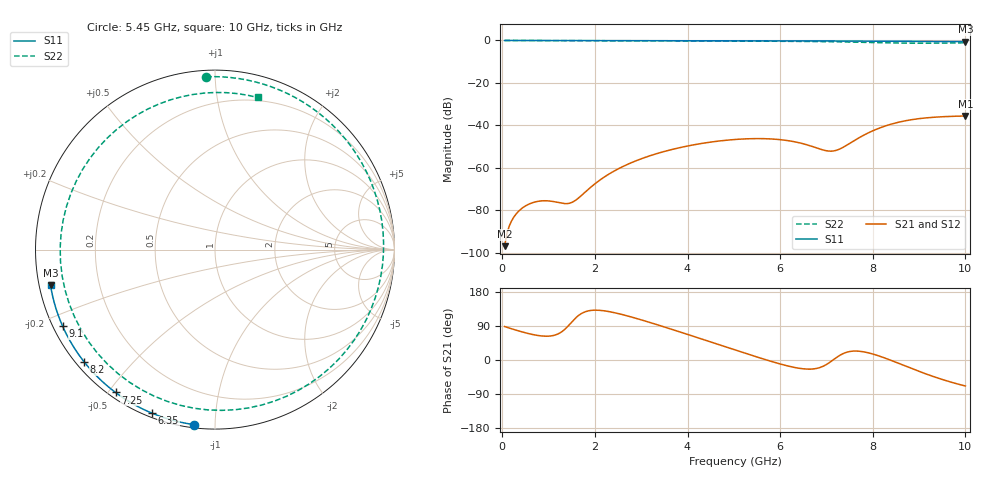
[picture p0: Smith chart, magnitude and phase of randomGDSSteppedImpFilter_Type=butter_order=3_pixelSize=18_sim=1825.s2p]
! freq	dB(S11)	phase(S11)	dB(S12)	phase(S12)
!  dB(S21)	phase(S21)	dB(S22)	phase(S22)
!S-par simulation data
#  GHz  S  DB  R 50
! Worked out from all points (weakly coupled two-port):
!   200 points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, 50 MHz to 10 GHz, reference 50 ohm
!   highest |S21| = -35.56 dB at 10 GHz (marker M1); lowest = -96.8 dB at 50 MHz (marker M2)
!   lowest |S11| = -0.6 dB at 10 GHz (marker M3), VSWR 31.07, Z = 1.63 - j5.38 ohm
!   |S11| at or under -10 dB: nowhere
!   |S22| runs from -1.3 to 0.0 dB; largest |S21 - S12| = 0
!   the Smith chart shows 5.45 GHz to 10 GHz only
!   S11 on the Smith chart (normalised r, x): 5.45 GHz: 0.02, -0.89; 6.35 GHz: 0.02, -0.69; 7.25 GHz: 0.02, -0.52; 8.2 GHz: 0.02, -0.37; 9.1 GHz: 0.03, -0.24; 10 GHz: 0.03, -0.11
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0.05  -0.00 -1.0  -96.84 88.3  -96.84 88.3  -0.00 -3.0
0.45  -0.01 -8.6  -78.60 73.4  -78.60 73.4  -0.03 -26.3
0.95  -0.02 -18.1  -75.46 62.7  -75.46 62.7  -0.07 -54.5
1.45  -0.03 -27.5  -76.64 93.5  -76.64 93.5  -0.10 -81.2
1.75  -0.04 -33.1  -72.17 125.2  -72.17 125.2  -0.11 -96.4
2.6  -0.06 -48.6  -59.39 119.6  -59.39 119.6  -0.15 -136.5
3.4  -0.08 -62.8  -52.86 91.0  -52.86 91.0  -0.18 -171.7
4.2  -0.11 -76.4  -48.87 59.6  -48.87 59.6  -0.23 153.2
5.05  -0.14 -90.4  -46.58 25.7  -46.58 25.7  -0.28 113.4
5.45  -0.16 -96.8  -46.21 9.9  -46.21 9.9  -0.32 92.9
5.9  -0.18 -104.0  -46.50 -7.0  -46.50 -7.0  -0.36 68.0
6.35  -0.21 -111.0  -47.86 -20.6  -47.86 -20.6  -0.42 40.4
6.7  -0.23 -116.4  -49.95 -23.7  -49.95 -23.7  -0.49 16.8
7.25  -0.27 -124.8  -51.43 9.4  -51.43 9.4  -0.64 -25.0
7.75  -0.31 -132.5  -45.24 22.6  -45.24 22.6  -0.85 -68.6
8  -0.33 -136.3  -42.53 15.8  -42.53 15.8  -0.97 -92.6
8.2  -0.35 -139.4  -40.79 7.9  -40.79 7.9  -1.07 -112.6
8.35  -0.36 -141.7  -39.70 1.1  -39.70 1.1  -1.14 -128.1
8.75  -0.41 -147.8  -37.62 -18.1  -37.62 -18.1  -1.27 -170.1
9.1  -0.44 -153.3  -36.56 -34.6  -36.56 -34.6  -1.29 153.7
9.55  -0.50 -160.4  -35.86 -53.3  -35.86 -53.3  -1.22 111.0
10  -0.56 -167.7  -35.56 -68.6  -35.56 -68.6  -1.11 74.4
